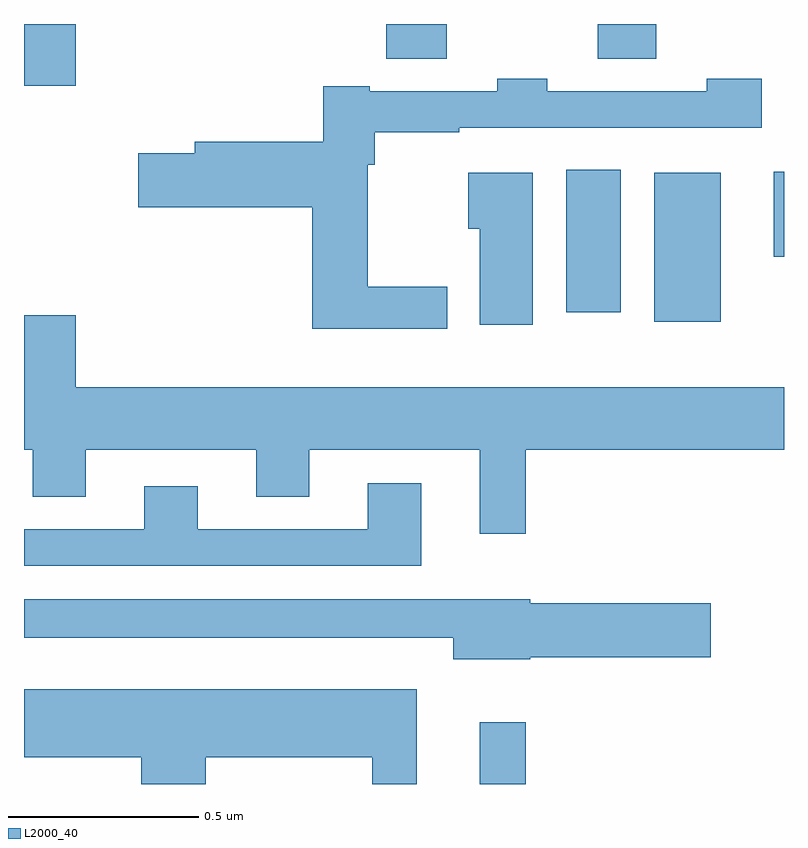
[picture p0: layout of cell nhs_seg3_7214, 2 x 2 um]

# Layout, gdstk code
import gdstk
lib = gdstk.Library(unit=1e-6, precision=1e-09)
def R(c, l, rs):  # rectangles x0, y0, x1, y1
    for r in rs: c.add(gdstk.rectangle(r[:2], r[2:], *l))
def P(c, l, *ps):  # polygons
    for p in ps: c.add(gdstk.Polygon(p, *l))
L2000_40 = (2000, 40)

nhs_seg3_7214 = lib.new_cell('nhs_seg3_7214')
R(nhs_seg3_7214, L2000_40, [(202.199,669.4,202.321,669.562), (202.658,670.616,202.834,671.008), (202.427,670.641,202.57,671.017), (202.973,670.787,203,671.011), (201,671.238,201.136,671.4), (201.953,671.308,202.112,671.4), (202.51,671.308,202.664,671.4)])
P(nhs_seg3_7214, L2000_40, [(202.114,670.708),(201.904,670.708),(201.904,671.03),(201.923,671.03),(201.923,671.115),(202.145,671.115),(202.145,671.127),(202.942,671.127),(202.942,671.256),(202.797,671.256),(202.797,671.223),(202.377,671.223),(202.377,671.256),(202.245,671.256),(202.245,671.223),(201.91,671.223),(201.91,671.236),(201.787,671.236),(201.787,671.09),(201.449,671.09),(201.449,671.06),(201.3,671.06),(201.3,670.918),(201.758,670.918),(201.758,670.598),(202.114,670.598)],
  [(202.339,671.008),(202.169,671.008),(202.169,670.861),(202.199,670.861),(202.199,670.608),(202.339,670.608)],
  [(202.321,670.28),(203,670.28),(203,670.444),(201.136,670.444),(201.136,670.633),(201,670.633),(201,670.28),(201.023,670.28),(201.023,670.156),(201.163,670.156),(201.163,670.28),(201.611,670.28),(201.611,670.156),(201.751,670.156),(201.751,670.28),(202.199,670.28),(202.199,670.059),(202.321,670.059)],
  [(202.045,670.192),(201.905,670.192),(201.905,670.071),(201.457,670.071),(201.457,670.183),(201.317,670.183),(201.317,670.071),(201,670.071),(201,669.975),(202.045,669.975)],
  [(202.332,669.734),(202.807,669.734),(202.807,669.876),(202.332,669.876),(202.332,669.886),(201,669.886),(201,669.785),(202.13,669.785),(202.13,669.728),(202.332,669.728)],
  [(201.478,669.47),(201.917,669.47),(201.917,669.4),(202.033,669.4),(202.033,669.649),(201,669.649),(201,669.47),(201.308,669.47),(201.308,669.4),(201.478,669.4)])

lib.write_gds('nhs_seg3_7214.gds')
